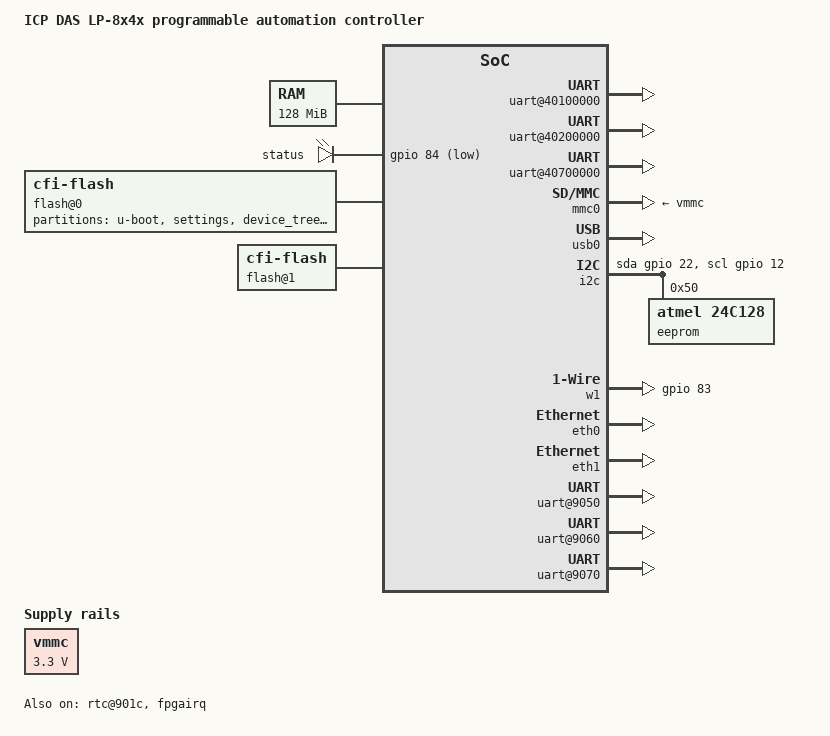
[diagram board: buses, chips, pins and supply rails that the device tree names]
/* Device tree for ICP DAS LP-8x4x */
/dts-v1/;

#include <dt-bindings/interrupt-controller/arm-gic.h>
#include "pxa27x.dtsi"

/ {
	model = "ICP DAS LP-8x4x programmable automation controller";
	compatible = "marvell,pxa270";

	aliases {
		ethernet0 = &eth0;
		ethernet1 = &eth1;
	};

	memory {
		reg = <0xa0000000 0x08000000>;
	};

	regulators {
		compatible = "simple-bus";
		#address-cells = <1>;
		#size-cells = <0>;

		vmmc: regulator@0 {
			compatible = "regulator-fixed";
			reg = <0>;
			regulator-name = "vmmc";
			regulator-min-microvolt = <3300000>;
			regulator-max-microvolt = <3300000>;
			regulator-always-on;
		};
	};

	pxabus {
		pxairq: interrupt-controller@40d00000 {
			marvell,intc-priority;
			marvell,intc-nr-irqs = <34>;
		};

		gpio: gpio@40e00000 {
			interrupts = <8>, <9>, <10>;
			interrupt-names = "gpio0", "gpio1", "gpio_mux";
		};

		uart@40100000 {
			status = "okay";
		};

		uart@40200000 {
			status = "okay";
		};

		uart@40700000 {
			status = "okay";
		};

		mmc0: mmc@41100000 {
			vmmc-supply = <&vmmc>;
			status = "okay";
		};

		usb0: ohci@4c000000 {
			marvell,port-mode = <3>;
			marvell,oc-mode-perport;
			marvell,enable-port1;
			status = "okay";
		};

		leds {
			compatible = "gpio-leds";

			status {
				gpios = <&gpio 84 1>;
				linux,default-trigger = "heartbeat";
			};
		};

		i2c: i2c-gpio {
			compatible = "i2c-gpio";
			gpios = <&gpio 22 0 /* sda */
				 &gpio 12 0 /* scl */>;
			i2c-gpio,delay-us = <1>;
			i2c-gpio,timeout-ms = <1>;
			#address-cells = <1>;
			#size-cells = <0>;

			eeprom@50 {
				compatible = "atmel,24c128";
				reg = <0x50>;
				pagesize = <64>;
			};
		};

		w1: w1-gpio {
			compatible = "w1-gpio";
			gpios = <&gpio 83 0>;
		};
	};

	extbus {
		/*
		 * PXA27x synchrous, static and
		 * variable-latency IO interfaces
		 */
		compatible = "simple-bus";

		#address-cells = <2>; /* first cell is nCS, second is address */
		#size-cells = <1>;
		ranges = <0 0 0 0x04000000
			  1 0 0x04000000 0x04000000
			  2 0 0x08000000 0x04000000
			  3 0 0x0c000000 0x04000000
			  4 0 0x10000000 0x04000000
			  5 0 0x14000000 0x04000000>;

		flash@0 {
			compatible = "cfi-flash";
			reg = <0 0 0x02000000>;
			bank-width = <4>;
			device-width = <2>;

			partitions {
				#address-cells = <1>;
				#size-cells = <1>;
				fs@0 {
					label = "u-boot";
					reg = <0 0x40000>;
				};
				fs@40000 {
					label = "settings";
					reg = <0x40000 0x40000>;
				};
				fs@80000 {
					label = "device_tree";
					reg = <0x80000 0x40000>;
				};
				fs@c0000 {
					label = "kernel";
					reg = <0xc0000 0x240000>;
				};
				fs@300000 {
					label = "root_fs";
					reg = <0x300000 0x1d00000>;
				};
			};
		};

		flash@1 {
			compatible = "cfi-flash";
			reg = <1 0x0 0x01000000>;
			bank-width = <2>;
			device-width = <1>;
			partitions {
				#address-cells = <1>;
				#size-cells = <1>;
			};
		};

		netio@3 {
			compatible = "simple-bus";
			#address-cells = <1>;
			#size-cells = <1>;
			ranges = <0 3 0 0x02000000>;
			interrupt-parent = <&gpio>;

			eth0: eth@0 {
				compatible = "davicom,dm9000";
				reg = <0x0 0x2
				       0x4000 0x2>;
				interrupts = <9 IRQ_TYPE_EDGE_RISING>;
				status = "okay";
			};

			eth1: eth@1000000 {
				compatible = "davicom,dm9000";
				reg = <0x1000000 0x2
				       0x1004000 0x2>;
				interrupts = <82 IRQ_TYPE_EDGE_RISING>;
				status = "okay";
			};
		};

		fpga@5 {
			compatible = "simple-bus";
			#address-cells = <1>;
			#size-cells = <1>;
			ranges = <0 5 0x3000000 0x10000>;
			interrupt-parent = <&fpgairq>;

			rtc@901c {
				compatible = "dallas,rtc-ds1302";
				reg = <0x901c 0x1>;
				status = "okay";
			};

			sram@a000 {
				compatible = "icpdas,sram-lp8x4x";
				reg = <0xa000 0x1000
				       0x901e 0x1>;

				partitions {
					#address-cells = <1>;
					#size-cells = <1>;
				};
			};

			fpgairq: irq@9006 {
				compatible = "icpdas,irq-lp8x4x";
				reg = <0x9006 0x16>;
				interrupt-parent = <&gpio>;
				interrupts = <3 IRQ_TYPE_EDGE_FALLING>;
				#interrupt-cells = <1>;
				interrupt-controller;
				status = "okay";
			};

			uart@9050 {
				compatible = "icpdas,uart-lp8x4x";
				reg = <0x9050 0x10
				       0x9030 0x02>;
				interrupts = <13>;
				status = "okay";
			};

			uart@9060 {
				compatible = "icpdas,uart-lp8x4x";
				reg = <0x9060 0x10
				       0x9032 0x02>;
				interrupts = <14>;
				status = "okay";
			};

			uart@9070 {
				compatible = "icpdas,uart-lp8x4x";
				reg = <0x9070 0x10
				       0x9034 0x02>;
				interrupts = <15>;
				status = "okay";
			};

			backplane {
				compatible = "icpdas,backplane-lp8x4x";
				reg = <0x0 0x2
				       0x1000 0x10
				       0x2000 0x10
				       0x3000 0x10
				       0x4000 0x10
				       0x5000 0x10
				       0x6000 0x10
				       0x7000 0x10
				       0x8000 0x10
				       0x9002 0x2
				       0x9004 0x2
				       0x9046 0x2>;
				eeprom-gpios = <&gpio 4 0>;
			};
		};
	};
};
